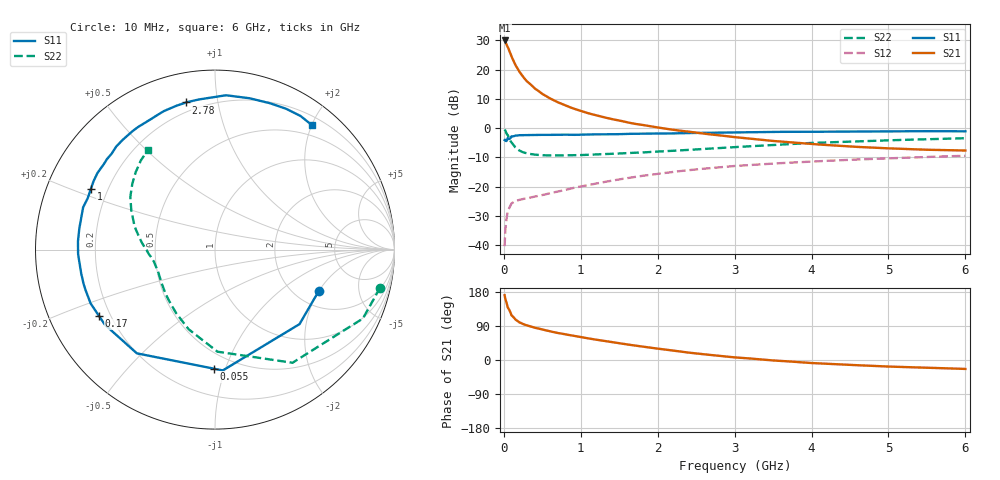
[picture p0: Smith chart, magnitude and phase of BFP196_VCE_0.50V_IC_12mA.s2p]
! Infineon Technologies  Discrete & RF Semiconductors
! BFP196
! VCE = 0.50V,  IC =  12mA
! Common Emitter S-Parameters:  Jan 2016
# GHz  S  MA  R  50
!  f  S11  S21  S12  S22
! GHz  MAG  ANG  MAG  ANG  MAG  ANG  MAG  ANG
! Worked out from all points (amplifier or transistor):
!   210 points, 10 MHz to 6 GHz, reference 50 ohm
!   highest |S21| = 29.9 dB at 10 MHz (marker M1)
!   |S21| within 3 dB of that: start of sweep to 62.79 MHz
!   unconditionally stable (mu >= 1): 744.5 MHz to end of sweep
!   at 185 MHz: K = 0.36, MSG = 22.3 dB, |S12| = -24.7 dB
!   at 1.52 GHz: K = 1.17, MAG = 7.5 dB, |S12| = -17.5 dB
!   at 6 GHz: K = 1.05, MAG = -0.5 dB, |S12| = -9.5 dB
!   S11 on the Smith chart (normalised r, x): 10 MHz: 2.66, -1.99; 55 MHz: 0.39, -0.92; 170 MHz: 0.16, -0.26; 1 GHz: 0.14, +0.23; 2.78 GHz: 0.15, +0.81; 6 GHz: 0.33, +2.01
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0.01  0.6227 -21.6  31.34 171.1  0.0096 81.4  0.944 -13.0
0.02  0.6278 -41.4  29.81 160.9  0.0186 71.0  0.909 -25.0
0.05  0.6746 -86.3  24.45 139.0  0.038 52.9  0.7643 -55.6
0.055  0.6637 -90.4  23.55 137.5  0.0392 50.9  0.7362 -58.0
0.1  0.7236 -127.0  16.53 117.8  0.0517 37.2  0.569 -88.6
0.15  0.7426 -145.7  11.93 106.6  0.0566 30.6  0.4675 -108.3
0.17  0.7443 -150.1  10.84 104.2  0.0577 29.9  0.4439 -113.2
0.2  0.7551 -156.6  9.261 99.6  0.0593 28.8  0.4153 -121.4
0.26  0.7566 -165.3  7.231 94.0  0.0618 28.2  0.382 -132.4
0.3  0.7572 -169.8  6.287 91.0  0.0632 28.8  0.3702 -137.9
0.4  0.7632 -178.1  4.775 85.2  0.0673 30.4  0.3517 -147.6
0.6  0.765 171.0  3.205 75.6  0.077 34.8  0.3404 -158.1
0.8  0.7716 162.2  2.425 67.7  0.0878 38.0  0.3421 -164.3
1  0.7701 153.8  1.957 60.5  0.1005 39.9  0.3455 -168.1
1.02  0.7712 153.2  1.922 59.8  0.1016 40.0  0.3463 -168.5
1.4  0.7851 140.1  1.424 47.5  0.1259 40.7  0.3623 -174.3
2.02  0.8063 121.5  1.014 29.6  0.1669 37.3  0.3972 177.0
2.78  0.8354 101.1  0.757 11.5  0.2125 29.6  0.4547 165.8
3.1  0.8433 94.0  0.679 5.5  0.2292 25.6  0.4803 160.9
4.1  0.865 75.5  0.523 -8.9  0.2716 14.2  0.5626 146.5
5.1  0.8792 62.0  0.445 -17.9  0.3073 3.5  0.6227 134.5
6  0.879 51.9  0.413 -23.6  0.3361 -6.3  0.67 123.9
